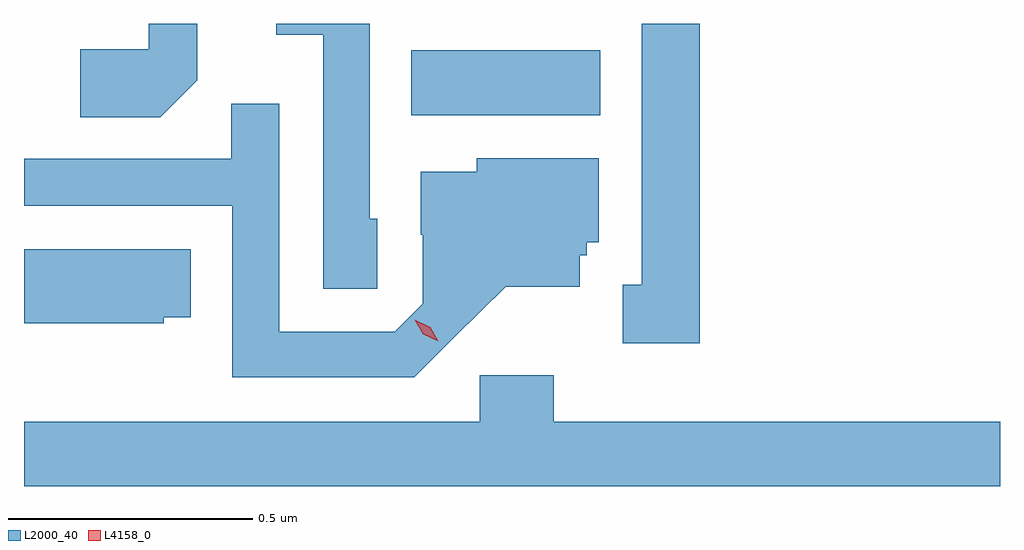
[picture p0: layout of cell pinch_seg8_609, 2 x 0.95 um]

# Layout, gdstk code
import gdstk
lib = gdstk.Library(unit=1e-6, precision=1e-09)
def R(c, l, rs):  # rectangles x0, y0, x1, y1
    for r in rs: c.add(gdstk.rectangle(r[:2], r[2:], *l))
def P(c, l, *ps):  # polygons
    for p in ps: c.add(gdstk.Polygon(p, *l))
L2000_40 = (2000, 40)
L4158_0 = (4158, 0)

pinch_seg8_609 = lib.new_cell('pinch_seg8_609')
R(pinch_seg8_609, L2000_40, [(144.25,1082.66,144.637,1082.794)])
P(pinch_seg8_609, L2000_40, [(144.18,1082.448),(144.165,1082.448),(144.165,1082.848),(143.973,1082.848),(143.973,1082.825),(144.069,1082.825),(144.069,1082.305),(144.18,1082.305)],
  [(143.811,1082.732),(143.811,1082.848),(143.712,1082.848),(143.712,1082.796),(143.571,1082.796),(143.571,1082.656),(143.735,1082.656)],
  [(144.841,1082.848),(144.722,1082.848),(144.722,1082.313),(144.683,1082.313),(144.683,1082.193),(144.841,1082.193)],
  [(144.34,1082.207),(144.443,1082.309),(144.595,1082.309),(144.595,1082.373),(144.609,1082.373),(144.609,1082.4),(144.634,1082.4),(144.634,1082.572),(144.384,1082.572),(144.384,1082.545),(144.269,1082.545),(144.269,1082.416),(144.273,1082.416),(144.273,1082.274),(144.216,1082.217),(143.979,1082.217),(143.979,1082.684),(143.881,1082.684),(143.881,1082.571),(143.456,1082.571),(143.456,1082.475),(143.883,1082.475),(143.883,1082.124),(144.256,1082.124)],
  [(143.742,1082.246),(143.798,1082.246),(143.798,1082.386),(143.456,1082.386),(143.456,1082.234),(143.742,1082.234)],
  [(145.456,1082.032),(144.542,1082.032),(144.542,1082.128),(144.39,1082.128),(144.39,1082.032),(143.456,1082.032),(143.456,1081.9),(145.456,1081.9)])
P(pinch_seg8_609, L4158_0, [(144.305,1082.197),(144.274,1082.212),(144.257,1082.241),(144.257,1082.241),(144.257,1082.241),(144.288,1082.226),(144.305,1082.197),(144.305,1082.197)])

lib.write_gds('pinch_seg8_609.gds')
